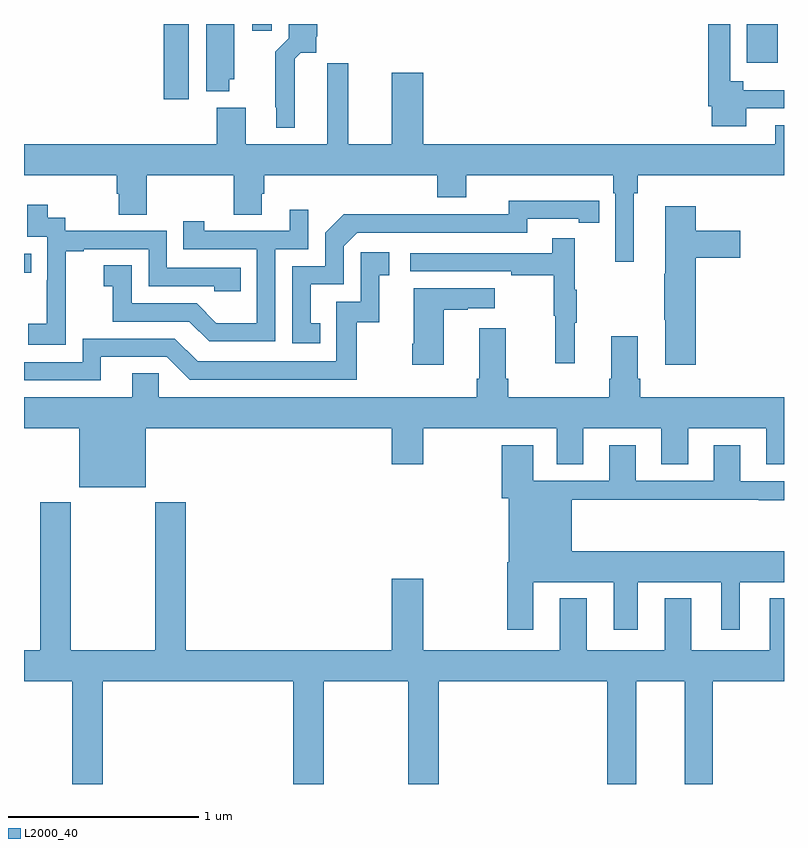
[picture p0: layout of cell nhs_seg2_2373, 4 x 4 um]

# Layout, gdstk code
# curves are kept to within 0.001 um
import gdstk
lib = gdstk.Library(unit=1e-6, precision=1e-09)
def R(c, l, rs):  # rectangles x0, y0, x1, y1
    for r in rs: c.add(gdstk.rectangle(r[:2], r[2:], *l))
def P(c, l, *ps):  # polygons
    for p in ps: c.add(gdstk.Polygon(p, *l))
L2000_40 = (2000, 40)

nhs_seg2_2373 = lib.new_cell('nhs_seg2_2373')
R(nhs_seg2_2373, L2000_40, [(235,612.49,235.037,612.591), (235.736,613.404,235.867,613.8), (238.805,613.596,238.966,613.8), (236.201,613.764,236.305,613.8)])
P(nhs_seg2_2373, L2000_40, [(236.08,613.509),(236.107,613.509),(236.107,613.8),(235.958,613.8),(235.958,613.445),(236.08,613.445)],
  [(238.801,613.356),(239,613.356),(239,613.452),(238.786,613.452),(238.786,613.498),(238.716,613.498),(238.716,613.8),(238.6,613.8),(238.6,613.366),(238.619,613.366),(238.619,613.262),(238.801,613.262)],
  [(236.425,613.616),(236.457,613.649),(236.537,613.649),(236.537,613.73),(236.543,613.736),(236.543,613.8),(236.393,613.8),(236.393,613.724),(236.323,613.654),(236.323,613.363),(236.327,613.363),(236.327,613.253),(236.425,613.253)],
  [(237.1,613.543),(236.936,613.543),(236.936,613.168),(236.707,613.168),(236.707,613.594),(236.597,613.594),(236.597,613.168),(236.167,613.168),(236.167,613.36),(236.015,613.36),(236.015,613.168),(235,613.168),(235,613.004),(235.487,613.004),(235.487,612.906),(235.499,612.906),(235.499,612.796),(235.647,612.796),(235.647,613.004),(236.104,613.004),(236.104,612.796),(236.251,612.796),(236.251,612.906),(236.264,612.906),(236.264,613.004),(237.176,613.004),(237.176,612.887),(237.328,612.887),(237.328,613.004),(238.1,613.004),(238.1,612.908),(238.113,612.908),(238.113,612.549),(238.21,612.549),(238.21,612.908),(238.229,612.908),(238.229,613.004),(239,613.004),(239,613.267),(238.955,613.267),(238.955,613.168),(237.1,613.168)],
  [(236.558,612.225),(236.509,612.225),(236.509,612.429),(236.682,612.429),(236.682,612.63),(236.754,612.702),(237.648,612.702),(237.648,612.774),(237.92,612.774),(237.92,612.754),(238.028,612.754),(238.028,612.87),(237.552,612.871),(237.552,612.798),(237.092,612.798),(237.092,612.8),(236.684,612.8),(236.586,612.702),(236.586,612.525),(236.412,612.525),(236.412,612.12),(236.558,612.12)],
  [(235.221,612.319),(235.22,612.319),(235.22,612.603),(235.315,612.603),(235.315,612.615),(235.656,612.615),(235.656,612.42),(236.001,612.42),(236.001,612.393),(236.141,612.393),(236.141,612.516),(235.752,612.516),(235.752,612.711),(235.218,612.711),(235.218,612.78),(235.126,612.78),(235.126,612.85),(235.017,612.85),(235.017,612.681),(235.122,612.681),(235.122,612.452),(235.121,612.452),(235.121,612.223),(235.023,612.223),(235.023,612.113),(235.221,612.113)],
  [(238.535,612.569),(238.771,612.569),(238.771,612.711),(238.535,612.711),(238.535,612.841),(238.376,612.841),(238.376,612.485),(238.369,612.485),(238.369,612.244),(238.376,612.244),(238.376,612.006),(238.535,612.006)],
  [(236.322,612.615),(236.496,612.615),(236.496,612.823),(236.399,612.823),(236.399,612.711),(235.948,612.711),(235.948,612.763),(235.837,612.763),(235.837,612.615),(236.226,612.615),(236.226,612.226),(236.012,612.226),(235.908,612.33),(235.566,612.33),(235.566,612.529),(235.419,612.529),(235.419,612.419),(235.468,612.419),(235.468,612.234),(235.871,612.234),(235.976,612.129),(236.322,612.129)],
  [(237.899,612.227),(237.91,612.227),(237.91,612.401),(237.899,612.401),(237.899,612.673),(237.781,612.673),(237.781,612.594),(237.033,612.594),(237.033,612.498),(237.565,612.498),(237.565,612.478),(237.789,612.478),(237.789,612.264),(237.796,612.264),(237.796,612.015),(237.899,612.015)],
  [(235.405,612.048),(235.752,612.048),(235.872,611.928),(236.752,611.928),(236.752,612.231),(236.87,612.231),(236.87,612.477),(236.923,612.477),(236.923,612.598),(236.772,612.598),(236.772,612.339),(236.643,612.339),(236.643,612.024),(235.914,612.024),(235.794,612.144),(235.308,612.144),(235.308,612.021),(235,612.021),(235,611.925),(235.405,611.925)],
  [(237.208,612.295),(237.335,612.295),(237.335,612.305),(237.478,612.305),(237.478,612.409),(237.05,612.409),(237.05,612.118),(237.043,612.118),(237.043,612.006),(237.208,612.006)],
  [(235.71,611.963),(235.571,611.963),(235.571,611.836),(235,611.836),(235,611.672),(235.292,611.672),(235.292,611.363),(235.642,611.363),(235.642,611.672),(236.936,611.672),(236.936,611.484),(237.1,611.484),(237.1,611.672),(237.803,611.672),(237.803,611.482),(237.943,611.482),(237.943,611.672),(238.355,611.672),(238.355,611.482),(238.495,611.482),(238.495,611.672),(238.907,611.672),(238.907,611.482),(239,611.482),(239,611.836),(238.244,611.836),(238.244,611.932),(238.231,611.932),(238.231,612.157),(238.091,612.157),(238.091,611.932),(238.079,611.932),(238.079,611.836),(237.548,611.836),(237.548,611.932),(237.535,611.932),(237.535,612.199),(237.395,612.199),(237.395,611.932),(237.383,611.932),(237.383,611.836),(235.71,611.836)],
  [(237.679,610.862),(238.103,610.862),(238.103,610.611),(238.231,610.611),(238.231,610.862),(238.67,610.862),(238.67,610.611),(238.768,610.611),(238.768,610.862),(239,610.862),(239,611.026),(237.883,611.026),(237.883,611.296),(238.867,611.296),(238.867,611.294),(239,611.294),(239,611.394),(238.771,611.394),(238.771,611.584),(238.631,611.584),(238.631,611.397),(238.219,611.397),(238.219,611.584),(238.079,611.584),(238.079,611.397),(237.679,611.397),(237.679,611.584),(237.515,611.584),(237.515,611.304),(237.551,611.304),(237.551,610.966),(237.544,610.966),(237.544,610.611),(237.679,610.611)],
  [(236.936,610.504),(235.85,610.504),(235.85,611.284),(235.69,611.284),(235.69,610.504),(235.245,610.504),(235.245,611.284),(235.085,611.284),(235.085,610.504),(235,610.504),(235,610.34),(235.255,610.34),(235.255,609.8),(235.415,609.8),(235.415,610.34),(236.417,610.34),(236.417,609.8),(236.577,609.8),(236.577,610.34),(237.022,610.34),(237.022,609.8),(237.182,609.8),(237.182,610.34),(238.07,610.34),(238.07,609.8),(238.222,609.8),(238.222,610.34),(238.478,610.34),(238.478,609.8),(238.626,609.8),(238.626,610.34),(239,610.34),(239,610.777),(238.925,610.777),(238.925,610.504),(238.513,610.504),(238.513,610.777),(238.373,610.777),(238.373,610.504),(237.961,610.504),(237.961,610.777),(237.821,610.777),(237.821,610.504),(237.1,610.504),(237.1,610.879),(236.936,610.879)])

lib.write_gds('nhs_seg2_2373.gds')
